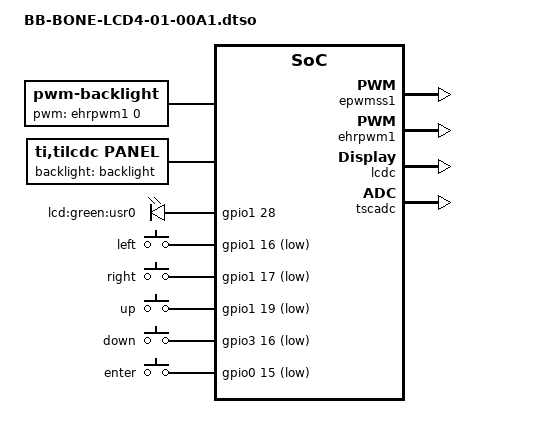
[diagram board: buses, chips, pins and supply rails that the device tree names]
// SPDX-License-Identifier: GPL-2.0-only
/*
 * Copyright (C) 2012 Texas Instruments Incorporated - https://www.ti.com/
 */

/dts-v1/;
/plugin/;

#include <dt-bindings/gpio/gpio.h>
#include <dt-bindings/interrupt-controller/irq.h>
#include <dt-bindings/pinctrl/am33xx.h>

/*
 * Helper to show loaded overlays under: /proc/device-tree/chosen/overlays/
 */
&{/chosen} {
	overlays {
		BB-BONE-LCD4-01-00A1.kernel = __TIMESTAMP__;
	};
};

/*
 * Free up the pins used by the cape from the pinmux helpers.
 */
&ocp {
	P9_12_pinmux { status = "disabled"; };	/* P9_12: gpmc_ben1.gpio1_28, INPUT | PULLDIS | MODE7 */

	P9_14_pinmux { status = "disabled"; };	/* P9_14: gpmc_a2.ehrpwm1a */

	P9_27_pinmux { status = "disabled"; };	/* P9_27: mcasp0_fsr.gpio3_19 */

	P8_45_pinmux { status = "disabled"; };	/* P8_45: lcd_data0.lcd_data0 */
	P8_46_pinmux { status = "disabled"; };	/* P8_46: lcd_data1.lcd_data1 */
	P8_43_pinmux { status = "disabled"; };	/* P8_43: lcd_data2.lcd_data2 */
	P8_44_pinmux { status = "disabled"; };	/* P8_44: lcd_data3.lcd_data3 */
	P8_41_pinmux { status = "disabled"; };	/* P8_41: lcd_data4.lcd_data4 */
	P8_42_pinmux { status = "disabled"; };	/* P8_42: lcd_data5.lcd_data5 */
	P8_39_pinmux { status = "disabled"; };	/* P8_39: lcd_data6.lcd_data6 */
	P8_40_pinmux { status = "disabled"; };	/* P8_40: lcd_data7.lcd_data7 */
	P8_37_pinmux { status = "disabled"; };	/* P8_37: lcd_data8.lcd_data8 */
	P8_38_pinmux { status = "disabled"; };	/* P8_38: lcd_data9.lcd_data9 */
	P8_36_pinmux { status = "disabled"; };	/* P8_36: lcd_data10.lcd_data10 */
	P8_34_pinmux { status = "disabled"; };	/* P8_34: lcd_data11.lcd_data11 */
	P8_35_pinmux { status = "disabled"; };	/* P8_35: lcd_data12.lcd_data12 */
	P8_33_pinmux { status = "disabled"; };	/* P8_33: lcd_data13.lcd_data13 */
	P8_31_pinmux { status = "disabled"; };	/* P8_31: lcd_data14.lcd_data14 */
	P8_32_pinmux { status = "disabled"; };	/* P8_32: lcd_data15.lcd_data15 */

	P8_27_pinmux { status = "disabled"; };	/* P8_27: lcd_vsync.lcd_vsync */
	P8_29_pinmux { status = "disabled"; };	/* P8_29: lcd_hsync.lcd_hsync */
	P8_28_pinmux { status = "disabled"; };	/* P8_28: lcd_pclk.lcd_pclk */
	P8_30_pinmux { status = "disabled"; };	/* P8_30: lcd_ac_bias_en.lcd_ac_bias_en */

	P9_15_pinmux { status = "disabled"; };	/* P9_15: gpmc_a0.gpio1_16 */
	P9_23_pinmux { status = "disabled"; };	/* P9_23: gpmc_a1.gpio1_17 */
	P9_16_pinmux { status = "disabled"; };	/* P9_16: gpmc_a3.gpio1_19 */
	P9_30_pinmux { status = "disabled"; };	/* P9_30: mcasp0_axr0.gpio3_16 */
	P9_24_pinmux { status = "disabled"; };	/* P9_24: uart1_txd.gpio0_15 */
};

&am33xx_pinmux {
	bb_lcd_led_pins: pinmux_bb_lcd_led_pins {
		pinctrl-single,pins = <
			AM33XX_PADCONF(AM335X_PIN_GPMC_BEN1, PIN_INPUT, MUX_MODE7)	/* P9_12: gpmc_ben1.gpio1_28, INPUT | PULLDIS | MODE7 */
		>;
	};

	bb_lcd_pwm_backlight_pins: pinmux_bb_lcd_pwm_backlight_pins {
		pinctrl-single,pins = <
			AM33XX_PADCONF(AM335X_PIN_GPMC_A2, PIN_OUTPUT_PULLDOWN, MUX_MODE6)	/* P9_14: gpmc_a2.ehrpwm1a */
		>;
	};

	bb_lcd_lcd_pins: pinmux_bb_lcd_lcd_pins {
		pinctrl-single,pins = <
			AM33XX_PADCONF(AM335X_PIN_MCASP0_FSR, PIN_OUTPUT_PULLUP, MUX_MODE7)	/* P9_27: mcasp0_fsr.gpio3_19 */

			AM33XX_PADCONF(AM335X_PIN_LCD_DATA0, PIN_OUTPUT, MUX_MODE0)
			AM33XX_PADCONF(AM335X_PIN_LCD_DATA1, PIN_OUTPUT, MUX_MODE0)
			AM33XX_PADCONF(AM335X_PIN_LCD_DATA2, PIN_OUTPUT, MUX_MODE0)
			AM33XX_PADCONF(AM335X_PIN_LCD_DATA3, PIN_OUTPUT, MUX_MODE0)
			AM33XX_PADCONF(AM335X_PIN_LCD_DATA4, PIN_OUTPUT, MUX_MODE0)
			AM33XX_PADCONF(AM335X_PIN_LCD_DATA5, PIN_OUTPUT, MUX_MODE0)
			AM33XX_PADCONF(AM335X_PIN_LCD_DATA6, PIN_OUTPUT, MUX_MODE0)
			AM33XX_PADCONF(AM335X_PIN_LCD_DATA7, PIN_OUTPUT, MUX_MODE0)
			AM33XX_PADCONF(AM335X_PIN_LCD_DATA8, PIN_OUTPUT, MUX_MODE0)
			AM33XX_PADCONF(AM335X_PIN_LCD_DATA9, PIN_OUTPUT, MUX_MODE0)
			AM33XX_PADCONF(AM335X_PIN_LCD_DATA10, PIN_OUTPUT, MUX_MODE0)
			AM33XX_PADCONF(AM335X_PIN_LCD_DATA11, PIN_OUTPUT, MUX_MODE0)
			AM33XX_PADCONF(AM335X_PIN_LCD_DATA12, PIN_OUTPUT, MUX_MODE0)
			AM33XX_PADCONF(AM335X_PIN_LCD_DATA13, PIN_OUTPUT, MUX_MODE0)
			AM33XX_PADCONF(AM335X_PIN_LCD_DATA14, PIN_OUTPUT, MUX_MODE0)
			AM33XX_PADCONF(AM335X_PIN_LCD_DATA15, PIN_OUTPUT, MUX_MODE0)

			AM33XX_PADCONF(AM335X_PIN_LCD_VSYNC, PIN_OUTPUT, MUX_MODE0)
			AM33XX_PADCONF(AM335X_PIN_LCD_HSYNC, PIN_OUTPUT, MUX_MODE0)
			AM33XX_PADCONF(AM335X_PIN_LCD_PCLK, PIN_OUTPUT, MUX_MODE0)
			AM33XX_PADCONF(AM335X_PIN_LCD_AC_BIAS_EN, PIN_OUTPUT, MUX_MODE0)
		>;
	};

	bb_lcd_keymap_pins: pinmux_bb_lcd_keymap_pins {
		pinctrl-single,pins = <
			AM33XX_PADCONF(AM335X_PIN_GPMC_A0, PIN_INPUT, MUX_MODE7)	/* P9_15: gpmc_a0.gpio1_16 */
			AM33XX_PADCONF(AM335X_PIN_GPMC_A1, PIN_INPUT, MUX_MODE7)	/* P9_23: gpmc_a1.gpio1_17 */
			AM33XX_PADCONF(AM335X_PIN_GPMC_A3, PIN_INPUT, MUX_MODE7)	/* P9_16: gpmc_a3.gpio1_19 */
			AM33XX_PADCONF(AM335X_PIN_MCASP0_AXR0, PIN_INPUT, MUX_MODE7)	/* P9_30: mcasp0_axr0.gpio3_16 */
			AM33XX_PADCONF(AM335X_PIN_UART1_TXD, PIN_INPUT, MUX_MODE7)	/* P9_24: uart1_txd.gpio0_15 */
		>;
	};
};

&epwmss1 {
	status = "okay";
};

&ehrpwm1 {
	pinctrl-names = "default";
	pinctrl-0 = <&bb_lcd_pwm_backlight_pins>;
	status = "okay";
};

&lcdc {
	status = "okay";

	blue-and-red-wiring = "straight";

	//FIXME - LCD doesn't init...
	//port {
	//	lcdc_0: endpoint@0 {
	//		remote-endpoint = <&panel_0>;
	//	};
	//};
};

&tscadc {
	status = "okay";
	tsc {
		ti,wires = <4>;
		ti,x-plate-resistance = <200>;
		ti,coordinate-readouts = <5>;
		ti,wire-config = <0x00 0x11 0x22 0x33>;
		ti,charge-delay = <0x400>;
	};

	adc {
		ti,adc-channels = <4 5 6 7>;
	};
};

&{/} {
	backlight: backlight {
		status = "okay";
		compatible = "pwm-backlight";
		pwms = <&ehrpwm1 0 500000 0>;
		brightness-levels = <
			0  1  2  3  4  5  6  7  8  9
			10 11 12 13 14 15 16 17 18 19
			20 21 22 23 24 25 26 27 28 29
			30 31 32 33 34 35 36 37 38 39
			40 41 42 43 44 45 46 47 48 49
			50 51 52 53 54 55 56 57 58 59
			60 61 62 63 64 65 66 67 68 69
			70 71 72 73 74 75 76 77 78 79
			80 81 82 83 84 85 86 87 88 89
			90 91 92 93 94 95 96 97 98 99
			100
		>;
		default-brightness-level = <100>;
	};

	panel {
		status = "okay";
		compatible = "ti,tilcdc,panel";
		pinctrl-names = "default";
		pinctrl-0 = <&bb_lcd_lcd_pins>;
		backlight = <&backlight>;

		//FIXME - LCD doesn't init...
		//port {
		//	panel_0: endpoint@0 {
		//		remote-endpoint = <&lcdc_0>;
		//	};
		//};

		panel-info {
			ac-bias           = <255>;
			ac-bias-intrpt    = <0>;
			dma-burst-sz      = <16>;
			bpp               = <16>;
			fdd               = <0x80>;
			sync-edge         = <0>;
			sync-ctrl         = <1>;
			raster-order      = <0>;
			fifo-th           = <0>;
		};
		display-timings {
			native-mode = <&timing0>;
			/* www.newhavendisplay.com/app_notes/OTA5180A.pdf */
			timing0: 480x272 {
				clock-frequency = <9200000>;
				hactive = <480>;
				vactive = <272>;
				hfront-porch = <8>;
				hback-porch = <47>;
				hsync-len = <41>;
				vback-porch = <2>;
				vfront-porch = <3>;
				vsync-len = <10>;
				hsync-active = <0>;
				vsync-active = <0>;
				de-active = <1>;
				pixelclk-active = <0>;
			};
		};
	};

	gpio-leds {
		compatible = "gpio-leds";
		pinctrl-names = "default";
		pinctrl-0 = <&bb_lcd_led_pins>;

		led-ld0 {
			label = "lcd:green:usr0";
			gpios = <&gpio1 28 0>;
			linux,default-trigger = "heartbeat";
			default-state = "off";
		};
	};

	gpio-keys {
		compatible = "gpio-keys";
		pinctrl-names = "default";
		pinctrl-0 = <&bb_lcd_keymap_pins>;

		button-1 {
			debounce_interval = <50>;
			linux,code = <105>;
			label = "left";
			gpios = <&gpio1 16 0x1>;
			gpio-key,wakeup;
			autorepeat;
		};
		button-2 {
			debounce_interval = <50>;
			linux,code = <106>;
			label = "right";
			gpios = <&gpio1 17 0x1>;
			gpio-key,wakeup;
			autorepeat;
		};
		button-3 {
			debounce_interval = <50>;
			linux,code = <103>;
			label = "up";
			gpios = <&gpio1 19 0x1>;
			gpio-key,wakeup;
			autorepeat;
		};
		button-4 {
			debounce_interval = <50>;
			linux,code = <108>;
			label = "down";
			gpios = <&gpio3 16 0x1>;
			gpio-key,wakeup;
			autorepeat;
		};
		button-5 {
			debounce_interval = <50>;
			linux,code = <28>;
			label = "enter";
			gpios = <&gpio0 15 0x1>;
			gpio-key,wakeup;
		};
	};
};
